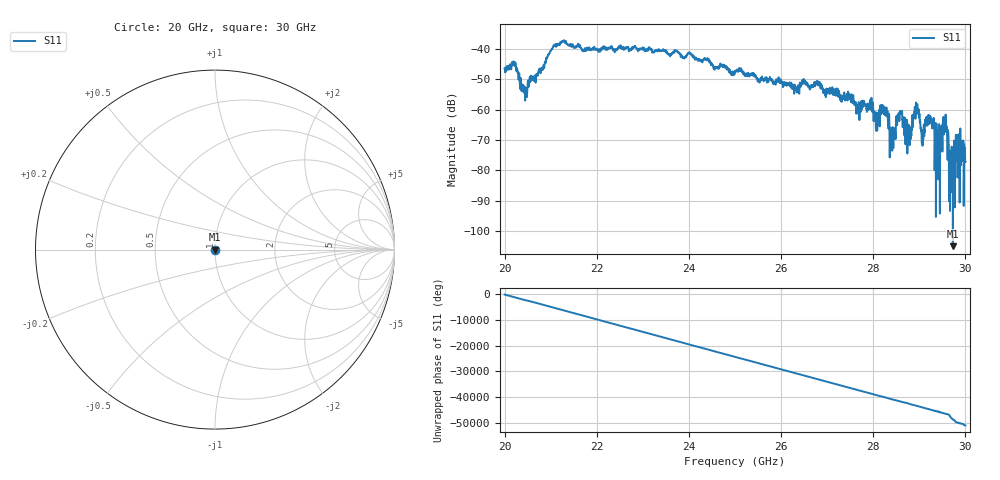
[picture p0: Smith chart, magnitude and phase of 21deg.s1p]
#  HZ  S  RI  R  50.00
! Rohde & Schwarz ZVA40 4Ports - Version 3.90 - 1145.1110k42 SN: 100403
! Date: 2023-10-03 10:29:25
! Measurement: S12
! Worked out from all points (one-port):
!   5001 points, 20 GHz to 30 GHz, reference 50 ohm
!   lowest |S11| = -105.0 dB at 29.73 GHz (marker M1), VSWR 1.00, Z = 50 + j0.000336 ohm
!   |S11| at or under -10 dB: start of sweep to end of sweep
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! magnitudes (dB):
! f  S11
! 20 GHz  -46.3
! 20.2 GHz  -44.4
! 20.45 GHz  -55.0
! 21.05 GHz  -39.3
! 21.25 GHz  -37.5
! 22.5 GHz  -39.4
! 23.75 GHz  -40.9
! 25 GHz  -47.4
! 26.25 GHz  -51.6
! 26.79 GHz  -51.1
! 27.5 GHz  -56.3
! 27.68 GHz  -57.9
! 27.95 GHz  -59.1
! 28.09 GHz  -62.3
! 28.26 GHz  -59.5
! 28.4 GHz  -66.7
! 28.59 GHz  -60.7
! 28.75 GHz  -68.9
! 28.94 GHz  -60.9
! 29.07 GHz  -69.5
! 29.17 GHz  -63.4
! 29.28 GHz  -63.9
! 29.4 GHz  -66.9
! 29.56 GHz  -65.8
! 29.69 GHz  -77.1
! 29.73 GHz  -105.0
! 29.84 GHz  -79.0
! 30 GHz  -77.2
